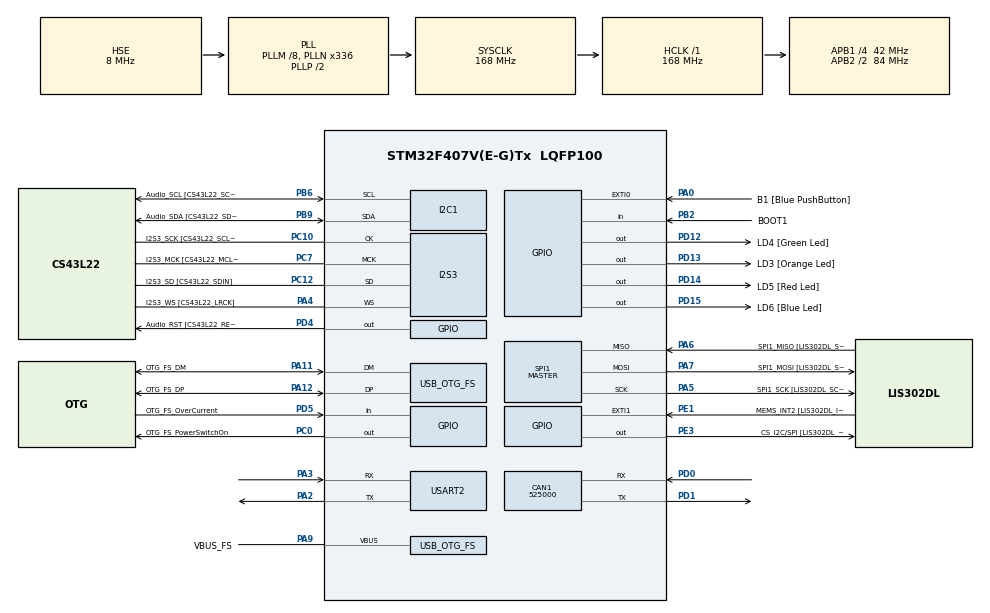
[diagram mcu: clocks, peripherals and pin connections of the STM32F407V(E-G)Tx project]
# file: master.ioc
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CAN1.BS1=CAN_BS1_2TQ
CAN1.BS2=CAN_BS2_2TQ
CAN1.CalculateBaudRate=525000
CAN1.CalculateTimeBit=1904
CAN1.CalculateTimeQuantum=380.95238095238096
CAN1.Mode=CAN_MODE_NORMAL
Dma.Request0=USART2_RX
Dma.Request1=USART2_TX
Dma.USART2_RX.0.Direction=DMA_PERIPH_TO_MEMORY
Dma.USART2_RX.0.FIFOMode=DMA_FIFOMODE_DISABLE
Dma.USART2_RX.0.Instance=DMA1_Stream5
Dma.USART2_RX.0.MemDataAlignment=DMA_MDATAALIGN_BYTE
Dma.USART2_RX.0.MemInc=DMA_MINC_ENABLE
Dma.USART2_RX.0.Mode=DMA_CIRCULAR
Dma.USART2_RX.0.PeriphDataAlignment=DMA_PDATAALIGN_BYTE
Dma.USART2_RX.0.PeriphInc=DMA_PINC_DISABLE
Dma.USART2_RX.0.Priority=DMA_PRIORITY_LOW
Dma.USART2_TX.1.Direction=DMA_MEMORY_TO_PERIPH
Dma.USART2_TX.1.FIFOMode=DMA_FIFOMODE_DISABLE
Dma.USART2_TX.1.Instance=DMA1_Stream6
Dma.USART2_TX.1.MemDataAlignment=DMA_MDATAALIGN_BYTE
Dma.USART2_TX.1.MemInc=DMA_MINC_ENABLE
Dma.USART2_TX.1.Mode=DMA_NORMAL
Dma.USART2_TX.1.PeriphDataAlignment=DMA_PDATAALIGN_BYTE
Dma.USART2_TX.1.PeriphInc=DMA_PINC_DISABLE
Dma.USART2_TX.1.Priority=DMA_PRIORITY_LOW
I2S3.AudioFreq-Half_Duplex_Master=I2S_AUDIOFREQ_96K
I2S3.ErrorAudioFreq=-2.34 %
I2S3.ErrorAudioFreq-Half_Duplex_Master=0.8 %
I2S3.FullDuplexMode=I2S_FULLDUPLEXMODE_DISABLE
I2S3.Instance=SPI$Index
I2S3.RealAudioFreq=93.75 KHz
I2S3.RealAudioFreq-Half_Duplex_Master=96.774 KHz
I2S3.VirtualMode=I2S_MODE_MASTER
Mcu.Family=STM32F4
Mcu.Name=STM32F407V(E-G)Tx
Mcu.Package=LQFP100
NVIC.CAN1_RX0_IRQn=true\:0\:0\:false\:false\:true\:true\:true\:true
NVIC.CAN1_RX1_IRQn=true\:0\:0\:false\:false\:true\:true\:true\:true
NVIC.CAN1_TX_IRQn=true\:0\:0\:false\:false\:true\:true\:true\:true
NVIC.DMA1_Stream5_IRQn=true\:0\:0\:false\:false\:true\:false\:true\:true
NVIC.DMA1_Stream6_IRQn=true\:0\:0\:false\:false\:true\:false\:true\:true
NVIC.OTG_FS_IRQn=true\:0\:0\:false\:false\:true\:true\:true\:true
NVIC.PriorityGroup=NVIC_PRIORITYGROUP_0
NVIC.USART2_IRQn=true\:0\:0\:false\:false\:true\:true\:true\:true
PA0-WKUP.GPIO_Label=B1 [Blue PushButton]
PA0-WKUP.GPIO_ModeDefaultEXTI=GPIO_MODE_EVT_RISING
PA0-WKUP.GPIO_PuPd=GPIO_NOPULL
PA0-WKUP.Signal=GPXTI0
PA10.GPIO_Label=OTG_FS_ID
PA10.GPIO_Mode=GPIO_MODE_AF_PP
PA10.GPIO_PuPd=GPIO_NOPULL
PA10.GPIO_Speed=GPIO_SPEED_FREQ_LOW
PA10.Signal=USB_OTG_FS_ID
PA11.GPIO_Label=OTG_FS_DM
PA11.GPIO_Mode=GPIO_MODE_AF_PP
PA11.GPIO_PuPd=GPIO_NOPULL
PA11.GPIO_Speed=GPIO_SPEED_FREQ_LOW
PA11.Mode=Host_Only
PA11.Signal=USB_OTG_FS_DM
PA12.GPIO_Label=OTG_FS_DP
PA12.GPIO_Mode=GPIO_MODE_AF_PP
PA12.GPIO_PuPd=GPIO_NOPULL
PA12.GPIO_Speed=GPIO_SPEED_FREQ_LOW
PA12.Mode=Host_Only
PA12.Signal=USB_OTG_FS_DP
PA13.GPIO_Label=SWDIO
PA13.Mode=Serial_Wire
PA13.Signal=SYS_JTMS-SWDIO
PA14.GPIO_Label=SWCLK
PA14.Mode=Serial_Wire
PA14.Signal=SYS_JTCK-SWCLK
PA2.Mode=Asynchronous
PA2.Signal=USART2_TX
PA3.Mode=Asynchronous
PA3.Signal=USART2_RX
PA4.GPIO_Label=I2S3_WS [CS43L22_LRCK]
PA4.GPIO_Mode=GPIO_MODE_AF_PP
PA4.GPIO_PuPd=GPIO_NOPULL
PA4.GPIO_Speed=GPIO_SPEED_FREQ_LOW
PA4.Mode=Half_Duplex_Master
PA4.Signal=I2S3_WS
PA5.GPIO_Label=SPI1_SCK [LIS302DL_SCL/SPC]
PA5.GPIO_Mode=GPIO_MODE_AF_PP
PA5.GPIO_PuPd=GPIO_NOPULL
PA5.GPIO_Speed=GPIO_SPEED_FREQ_LOW
PA5.Mode=Full_Duplex_Master
PA5.Signal=SPI1_SCK
PA6.GPIO_Label=SPI1_MISO [LIS302DL_SDO]
PA6.GPIO_Mode=GPIO_MODE_AF_PP
PA6.GPIO_PuPd=GPIO_NOPULL
PA6.GPIO_Speed=GPIO_SPEED_FREQ_LOW
PA6.Mode=Full_Duplex_Master
PA6.Signal=SPI1_MISO
PA7.GPIO_Label=SPI1_MOSI [LIS302DL_SDA/SDI/SDO]
PA7.GPIO_Mode=GPIO_MODE_AF_PP
PA7.GPIO_PuPd=GPIO_NOPULL
PA7.GPIO_Speed=GPIO_SPEED_FREQ_LOW
PA7.Mode=Full_Duplex_Master
PA7.Signal=SPI1_MOSI
PA9.GPIO_Label=VBUS_FS
PA9.GPIO_Mode=GPIO_MODE_INPUT
PA9.GPIO_PuPd=GPIO_NOPULL
PA9.Mode=Activate_VBUS
PA9.Signal=USB_OTG_FS_VBUS
PB10.GPIO_Label=CLK_IN [MP45DT02_CLK]
PB10.GPIO_Mode=GPIO_MODE_AF_PP
PB10.GPIO_PuPd=GPIO_NOPULL
PB10.GPIO_Speed=GPIO_SPEED_FREQ_LOW
PB10.Signal=I2S2_CK
PB2.GPIO_Label=BOOT1
PB2.GPIO_Mode=GPIO_MODE_INPUT
PB2.GPIO_PuPd=GPIO_NOPULL
PB2.Signal=GPIO_Input
PB3.GPIO_Label=SWO
PB3.Signal=SYS_JTDO-SWO
PB6.GPIO_Label=Audio_SCL [CS43L22_SCL]
PB6.GPIO_Mode=GPIO_MODE_AF_OD
PB6.GPIO_Pu=GPIO_PULLUP
PB6.GPIO_PuPd=GPIO_NOPULL
PB6.GPIO_Speed=GPIO_SPEED_FREQ_LOW
PB6.Mode=I2C
PB6.Signal=I2C1_SCL
PB9.GPIO_Label=Audio_SDA [CS43L22_SDA]
PB9.GPIO_Mode=GPIO_MODE_AF_OD
PB9.GPIO_Pu=GPIO_PULLUP
PB9.GPIO_PuPd=GPIO_NOPULL
PB9.GPIO_Speed=GPIO_SPEED_FREQ_LOW
PB9.Mode=I2C
PB9.Signal=I2C1_SDA
PC0.GPIO_Label=OTG_FS_PowerSwitchOn
PC0.GPIO_PuPd=GPIO_NOPULL
PC0.GPIO_Speed=GPIO_SPEED_FREQ_LOW
PC0.PinState=GPIO_PIN_SET
PC0.Signal=GPIO_Output
PC10.GPIO_Label=I2S3_SCK [CS43L22_SCLK]
PC10.GPIO_Mode=GPIO_MODE_AF_PP
PC10.GPIO_PuPd=GPIO_NOPULL
PC10.GPIO_Speed=GPIO_SPEED_FREQ_LOW
PC10.Mode=Half_Duplex_Master
PC10.Signal=I2S3_CK
PC12.GPIO_Label=I2S3_SD [CS43L22_SDIN]
PC12.GPIO_Mode=GPIO_MODE_AF_PP
PC12.GPIO_PuPd=GPIO_NOPULL
PC12.GPIO_Speed=GPIO_SPEED_FREQ_LOW
PC12.Mode=Half_Duplex_Master
PC12.Signal=I2S3_SD
PC14-OSC32_IN.GPIO_Label=PC14-OSC32_IN
PC14-OSC32_IN.Signal=RCC_OSC32_IN
PC15-OSC32_OUT.GPIO_Label=PC15-OSC32_OUT
PC15-OSC32_OUT.Signal=RCC_OSC32_OUT
PC3.GPIO_Label=PDM_OUT [MP45DT02_DOUT]
PC3.GPIO_Mode=GPIO_MODE_AF_PP
PC3.GPIO_PuPd=GPIO_NOPULL
PC3.GPIO_Speed=GPIO_SPEED_FREQ_LOW
PC3.Signal=I2S2_SD
PC7.GPIO_Label=I2S3_MCK [CS43L22_MCLK]
PC7.GPIO_Mode=GPIO_MODE_AF_PP
PC7.GPIO_PuPd=GPIO_NOPULL
PC7.GPIO_Speed=GPIO_SPEED_FREQ_LOW
PC7.Mode=Master_Clock_Activated
PC7.Signal=I2S3_MCK
PD0.Mode=CAN_Activate
PD0.Signal=CAN1_RX
PD1.Mode=CAN_Activate
PD1.Signal=CAN1_TX
PD12.GPIO_Label=LD4 [Green Led]
PD12.GPIO_PuPd=GPIO_NOPULL
PD12.GPIO_Speed=GPIO_SPEED_FREQ_LOW
PD12.Signal=GPIO_Output
PD13.GPIO_Label=LD3 [Orange Led]
PD13.GPIO_PuPd=GPIO_NOPULL
PD13.GPIO_Speed=GPIO_SPEED_FREQ_LOW
PD13.Signal=GPIO_Output
PD14.GPIO_Label=LD5 [Red Led]
PD14.GPIO_PuPd=GPIO_NOPULL
PD14.GPIO_Speed=GPIO_SPEED_FREQ_LOW
PD14.Signal=GPIO_Output
PD15.GPIO_Label=LD6 [Blue Led]
PD15.GPIO_PuPd=GPIO_NOPULL
PD15.GPIO_Speed=GPIO_SPEED_FREQ_LOW
PD15.Signal=GPIO_Output
PD4.GPIO_Label=Audio_RST [CS43L22_RESET]
PD4.GPIO_PuPd=GPIO_NOPULL
PD4.GPIO_Speed=GPIO_SPEED_FREQ_LOW
PD4.Signal=GPIO_Output
PD5.GPIO_Label=OTG_FS_OverCurrent
PD5.GPIO_Mode=GPIO_MODE_INPUT
PD5.GPIO_PuPd=GPIO_NOPULL
PD5.Signal=GPIO_Input
PE1.GPIO_Label=MEMS_INT2 [LIS302DL_INT2]
PE1.GPIO_ModeDefaultEXTI=GPIO_MODE_EVT_RISING
PE1.GPIO_PuPd=GPIO_NOPULL
PE1.Signal=GPXTI1
PE3.GPIO_Label=CS_I2C/SPI [LIS302DL_CS_I2C/SPI]
PE3.GPIO_PuPd=GPIO_NOPULL
PE3.GPIO_Speed=GPIO_SPEED_FREQ_LOW
PE3.Signal=GPIO_Output
PH0-OSC_IN.GPIO_Label=PH0-OSC_IN
PH0-OSC_IN.Mode=HSE-External-Oscillator
PH0-OSC_IN.Signal=RCC_OSC_IN
PH1-OSC_OUT.GPIO_Label=PH1-OSC_OUT
PH1-OSC_OUT.Mode=HSE-External-Oscillator
PH1-OSC_OUT.Signal=RCC_OSC_OUT
ProjectManager.HeapSize=0x200
ProjectManager.StackSize=0x400
ProjectManager.TargetToolchain=STM32CubeIDE
RCC.48MHZClocksFreq_Value=48000000
RCC.AHBFreq_Value=168000000
RCC.APB1CLKDivider=RCC_HCLK_DIV4
RCC.APB1Freq_Value=42000000
RCC.APB1TimFreq_Value=84000000
RCC.APB2CLKDivider=RCC_HCLK_DIV2
RCC.APB2Freq_Value=84000000
RCC.APB2TimFreq_Value=168000000
RCC.CortexFreq_Value=168000000
RCC.HCLKFreq_Value=168000000
RCC.HSE_VALUE=8000000
RCC.HSI_VALUE=16000000
RCC.LSE_VALUE=32768
RCC.PLLM=8
RCC.PLLN=336
RCC.PLLQ=7
RCC.SYSCLKFreq_VALUE=168000000
RCC.SYSCLKSource=RCC_SYSCLKSOURCE_PLLCLK
RCC.VCOOutputFreq_Value=336000000
SPI1.BaudRatePrescaler-Full_Duplex_Master=SPI_BAUDRATEPRESCALER_2
SPI1.CalculateBaudRate-Full_Duplex_Master=42.0 MBits/s
SPI1.Direction=SPI_DIRECTION_2LINES
SPI1.Mode=SPI_MODE_MASTER
SPI1.Mode-Full_Duplex_Master=SPI_MODE_MASTER
SPI1.VirtualType=VM_MASTER
USART2.VirtualMode=VM_ASYNC
USB_HOST.BSP.number=1
USB_HOST.USBH_HandleTypeDef-CDC_FS=hUsbHostFS
USB_HOST.VirtualModeFS=Cdc
USB_HOST0.BSP.STBoard=false
USB_HOST0.BSP.api=Unknown
USB_HOST0.BSP.instance=PC0
USB_HOST0.BSP.ip=GPIO
USB_HOST0.BSP.mode=Output
USB_HOST0.BSP.name=Drive_VBUS_FS
USB_HOST0.BSP.solution=PC0
USB_OTG_FS.VirtualMode=Host_Only
USB_OTG_FS.phy_itface=HCD_PHY_EMBEDDED
VP_USB_HOST_VS_USB_HOST_CDC_FS.Mode=CDC_FS
board=STM32F407G-DISC1

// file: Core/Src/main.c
/* USER CODE BEGIN Header */
/**
  ******************************************************************************
  * @file           : main.c
  * @brief          : Main program body
  ******************************************************************************
  * @attention
  *
  * Copyright (c) 2024 STMicroelectronics.
  * All rights reserved.
  *
  * This software is licensed under terms that can be found in the LICENSE file
  * in the root directory of this software component.
  * If no LICENSE file comes with this software, it is provided AS-IS.
  *
  ******************************************************************************
  */
/* USER CODE END Header */
#include "main.h"
#include "usb_host.h"

/* USER CODE BEGIN Includes */
#include "stdio.h"
#include "string.h"

#define BUFFER_SIZE 12
uint8_t RxBuffUART[BUFFER_SIZE];
uint8_t RxDataUART;
uint8_t TxBuffUART[20] = "_Master_";
uint8_t _rxIndex; //
uint16_t Tx_FLag = 0;

int SLAVE_1 = 0;
int SLAVE_2 = 0;
int16_t fail = 3000;
char str_value[10];
char data_str[20];
uint16_t merged_value = 0;
uint8_t value = 0;

uint8_t byte_high;
uint8_t byte_low;

volatile int tx_complete = 1;   //Flag

/* USER CODE END Includes */

CAN_HandleTypeDef hcan1;

I2C_HandleTypeDef hi2c1;

I2S_HandleTypeDef hi2s3;

SPI_HandleTypeDef hspi1;

UART_HandleTypeDef huart2;
DMA_HandleTypeDef hdma_usart2_rx;
DMA_HandleTypeDef hdma_usart2_tx;

void SystemClock_Config(void);
static void MX_GPIO_Init(void);
static void MX_DMA_Init(void);
static void MX_I2C1_Init(void);
static void MX_I2S3_Init(void);
static void MX_SPI1_Init(void);
static void MX_CAN1_Init(void);
static void MX_USART2_UART_Init(void);
void MX_USB_HOST_Process(void);

/* USER CODE BEGIN 0 */

void HAL_UART_RxCpltCallback(UART_HandleTypeDef *huart)
{
  UNUSED(huart);
	if(huart->Instance == USART2)
	{
	        HAL_UART_Receive_DMA(&huart2, RxBuffUART, BUFFER_SIZE);
	        HAL_UART_Transmit_DMA(&huart2, RxBuffUART, BUFFER_SIZE);
	}
}

void HAL_UART_TxCpltCallback(UART_HandleTypeDef *huart) {
    if (huart->Instance == USART2) {
        tx_complete = 1; // Done Transmit
}
}

CAN_HandleTypeDef     CanHandle;
CAN_TxHeaderTypeDef   TxHeader;
CAN_RxHeaderTypeDef   RxHeader;
uint8_t               TxData[8];
uint8_t               RxData[8];
uint32_t              TxMailbox;

void HAL_CAN_RxFifo0MsgPendingCallback(CAN_HandleTypeDef *hcan)
{
  if (HAL_CAN_GetRxMessage(hcan, CAN_RX_FIFO0, &RxHeader, RxData) != HAL_OK)
  {
    Error_Handler();
  }
  // additional filter
  if (RxHeader.StdId == 0x215) /* SLAVE 1 */
  {
	  SLAVE_1 = 1;
	  SLAVE_2 = 0;
  }

  else if (RxHeader.StdId == 0x211) /* SLAVE 2 */
  {
	  SLAVE_2 = 1;
	  SLAVE_1 = 0;
  }
  fail = 3000; //If not
};
/* USER CODE END 0 */

int main(void)
{

  /* MCU Configuration--------------------------------------------------------*/

  /* Reset of all peripherals, Initializes the Flash interface and the Systick. */
  HAL_Init();

  /* Configure the system clock */
  SystemClock_Config();

  /* Initialize all configured peripherals */
  MX_GPIO_Init();
  MX_DMA_Init();
  MX_I2C1_Init();
  MX_I2S3_Init();
  MX_SPI1_Init();
  MX_USB_HOST_Init();
  MX_CAN1_Init();
  MX_USART2_UART_Init();
  /* USER CODE BEGIN 2 */

  if (HAL_CAN_Start(&hcan1) != HAL_OK)
    {
  	  Error_Handler();
    }

  if (HAL_CAN_ActivateNotification(&hcan1, CAN_IT_RX_FIFO0_MSG_PENDING) != HAL_OK)
    {
  	  Error_Handler();
    }

	/*Configure for */
	HAL_UART_Receive_DMA(&huart2, RxBuffUART, BUFFER_SIZE);
  //	HAL_UART_Transmit_DMA(&huart2, TxBuffUART, sizeof(TxBuffUART));
  /* USER CODE END 2 */

  /* Infinite loop */
  while (1)
  {
    MX_USB_HOST_Process();
    /* USER CODE BEGIN 3 */
    /*Configure for */
 	TxHeader.StdId = 0x407;
 	TxHeader.ExtId = 0x00;
 	TxHeader.RTR = CAN_RTR_DATA;
 	TxHeader.IDE = CAN_ID_STD;
 	TxHeader.DLC = 8;
 	TxHeader.TransmitGlobalTime = DISABLE;

    if (SLAVE_1 || SLAVE_2){

    	      if(SLAVE_1){//TxData for SLAVE_2
    	    	  if(tx_complete){
          	  ///Process data coming from the slave2
    	    		  uint8_t byte_low  = RxData[0];
                      sprintf(str_value, "%04X", byte_low);
    	    		  sprintf(data_str, "@8A%s000#", str_value);

//DMA transmission
       		  tx_complete = 0;
          	  HAL_UART_Transmit_DMA(&huart2, (uint8_t *)data_str, sizeof(data_str));
          	  HAL_Delay(100);
    	    	  	  }
    	    	  else{
    	      HAL_UART_Transmit_DMA(&huart2, (uint8_t *)data_str, sizeof(data_str));
    	      HAL_Delay(100);
    	    	  	  }
    	    	  }
      		  if(SLAVE_2){
           		  if(tx_complete){
      		  ///Process data coming from the slave2
      			uint8_t byte_high = RxData[1];
      			uint8_t byte_low  = RxData[0];
      		  // Type and bitwise shift to concatenate two values together
      		  merged_value = (uint16_t)(byte_high << 8) | byte_low;
      		  sprintf(str_value, "%04X", merged_value);
      		  sprintf(data_str, "@8B%s000#", str_value);
      		  //DMA transmission
       		  tx_complete = 0;
          	  HAL_UART_Transmit_DMA(&huart2, (uint8_t *)data_str, sizeof(data_str));
        	  HAL_Delay(100);
           		  	  }else{
           	  HAL_UART_Transmit_DMA(&huart2, (uint8_t *)data_str, sizeof(data_str));
        	  HAL_Delay(100);
           		  	  }
      		  }
    }
          TxData[0] = 65;
          TxData[1] = RxBuffUART[1];
          TxData[2] = RxBuffUART[2];
          TxData[3] = RxBuffUART[3];
          TxData[4] = RxBuffUART[4];
          TxData[5] = RxBuffUART[5];
          TxData[6] = RxBuffUART[6];
          TxData[7] = RxBuffUART[7];

          if (HAL_CAN_AddTxMessage(&hcan1, &TxHeader, TxData, &TxMailbox) != HAL_OK)
          			  {
          				  Error_Handler ();
          			  }
          	  HAL_Delay(40);

  }
  /* USER CODE END 3 */
}

void SystemClock_Config(void)
{
  RCC_OscInitTypeDef RCC_OscInitStruct = {0};
  RCC_ClkInitTypeDef RCC_ClkInitStruct = {0};

  /** Configure the main internal regulator output voltage
  */
  __HAL_RCC_PWR_CLK_ENABLE();
  __HAL_PWR_VOLTAGESCALING_CONFIG(PWR_REGULATOR_VOLTAGE_SCALE1);

  /** Initializes the RCC Oscillators according to the specified parameters
  * in the RCC_OscInitTypeDef structure.
  */
  RCC_OscInitStruct.OscillatorType = RCC_OSCILLATORTYPE_HSE;
  RCC_OscInitStruct.HSEState = RCC_HSE_ON;
  RCC_OscInitStruct.PLL.PLLState = RCC_PLL_ON;
  RCC_OscInitStruct.PLL.PLLSource = RCC_PLLSOURCE_HSE;
  RCC_OscInitStruct.PLL.PLLM = 8;
  RCC_OscInitStruct.PLL.PLLN = 336;
  RCC_OscInitStruct.PLL.PLLP = RCC_PLLP_DIV2;
  RCC_OscInitStruct.PLL.PLLQ = 7;
  if (HAL_RCC_OscConfig(&RCC_OscInitStruct) != HAL_OK)
  {
    Error_Handler();
  }

  /** Initializes the CPU, AHB and APB buses clocks
  */
  RCC_ClkInitStruct.ClockType = RCC_CLOCKTYPE_HCLK|RCC_CLOCKTYPE_SYSCLK
                              |RCC_CLOCKTYPE_PCLK1|RCC_CLOCKTYPE_PCLK2;
  RCC_ClkInitStruct.SYSCLKSource = RCC_SYSCLKSOURCE_PLLCLK;
  RCC_ClkInitStruct.AHBCLKDivider = RCC_SYSCLK_DIV1;
  RCC_ClkInitStruct.APB1CLKDivider = RCC_HCLK_DIV4;
  RCC_ClkInitStruct.APB2CLKDivider = RCC_HCLK_DIV2;

  if (HAL_RCC_ClockConfig(&RCC_ClkInitStruct, FLASH_LATENCY_5) != HAL_OK)
  {
    Error_Handler();
  }
}

static void MX_CAN1_Init(void)
{

  hcan1.Instance = CAN1;
  hcan1.Init.Prescaler = 16;
  hcan1.Init.Mode = CAN_MODE_NORMAL;
  hcan1.Init.SyncJumpWidth = CAN_SJW_1TQ;
  hcan1.Init.TimeSeg1 = CAN_BS1_2TQ;
  hcan1.Init.TimeSeg2 = CAN_BS2_2TQ;
hcan1.Init.TimeTriggeredMode = DISABLE;
  hcan1.Init.AutoBusOff = DISABLE;
  hcan1.Init.AutoWakeUp = DISABLE;
  hcan1.Init.AutoRetransmission = DISABLE;
  hcan1.Init.ReceiveFifoLocked = DISABLE;
  hcan1.Init.TransmitFifoPriority = DISABLE;
  if (HAL_CAN_Init(&hcan1) != HAL_OK)
  {
    Error_Handler();
  }
  /* USER CODE BEGIN CAN1_Init 2 */
  CAN_FilterTypeDef canfilterconfig_slave1;
    canfilterconfig_slave1.FilterActivation = CAN_FILTER_ENABLE;
    canfilterconfig_slave1.FilterBank = 18;  // which filter bank to use from the assigned ones
    canfilterconfig_slave1.FilterFIFOAssignment = CAN_FILTER_FIFO0;
    canfilterconfig_slave1.FilterIdHigh = 0x201<<5; //Change for SLAVE
    canfilterconfig_slave1.FilterIdLow = 0;
    canfilterconfig_slave1.FilterMaskIdHigh = 0x201<<5; //Change for SLAVE
    canfilterconfig_slave1.FilterMaskIdLow = 0x0000;
    canfilterconfig_slave1.FilterMode = CAN_FILTERMODE_IDMASK;
    canfilterconfig_slave1.FilterScale = CAN_FILTERSCALE_32BIT;
    canfilterconfig_slave1.SlaveStartFilterBank = 40;  // how many filters to assign to the CAN1 (master can)
    HAL_CAN_ConfigFilter(&hcan1, &canfilterconfig_slave1);

  /* USER CODE END CAN1_Init 2 */

}

static void MX_I2C1_Init(void)
{

  hi2c1.Instance = I2C1;
  hi2c1.Init.ClockSpeed = 100000;
  hi2c1.Init.DutyCycle = I2C_DUTYCYCLE_2;
  hi2c1.Init.OwnAddress1 = 0;
  hi2c1.Init.AddressingMode = I2C_ADDRESSINGMODE_7BIT;
  hi2c1.Init.DualAddressMode = I2C_DUALADDRESS_DISABLE;
  hi2c1.Init.OwnAddress2 = 0;
  hi2c1.Init.GeneralCallMode = I2C_GENERALCALL_DISABLE;
  hi2c1.Init.NoStretchMode = I2C_NOSTRETCH_DISABLE;
  if (HAL_I2C_Init(&hi2c1) != HAL_OK)
  {
    Error_Handler();
  }

}

static void MX_I2S3_Init(void)
{

  hi2s3.Instance = SPI3;
  hi2s3.Init.Mode = I2S_MODE_MASTER_TX;
  hi2s3.Init.Standard = I2S_STANDARD_PHILIPS;
  hi2s3.Init.DataFormat = I2S_DATAFORMAT_16B;
  hi2s3.Init.MCLKOutput = I2S_MCLKOUTPUT_ENABLE;
  hi2s3.Init.AudioFreq = I2S_AUDIOFREQ_96K;
  hi2s3.Init.CPOL = I2S_CPOL_LOW;
  hi2s3.Init.ClockSource = I2S_CLOCK_PLL;
  hi2s3.Init.FullDuplexMode = I2S_FULLDUPLEXMODE_DISABLE;
  if (HAL_I2S_Init(&hi2s3) != HAL_OK)
  {
    Error_Handler();
  }

}

static void MX_SPI1_Init(void)
{

/* SPI1 parameter configuration*/
  hspi1.Instance = SPI1;
  hspi1.Init.Mode = SPI_MODE_MASTER;
  hspi1.Init.Direction = SPI_DIRECTION_2LINES;
  hspi1.Init.DataSize = SPI_DATASIZE_8BIT;
  hspi1.Init.CLKPolarity = SPI_POLARITY_LOW;
  hspi1.Init.CLKPhase = SPI_PHASE_1EDGE;
  hspi1.Init.NSS = SPI_NSS_SOFT;
  hspi1.Init.BaudRatePrescaler = SPI_BAUDRATEPRESCALER_2;
  hspi1.Init.FirstBit = SPI_FIRSTBIT_MSB;
  hspi1.Init.TIMode = SPI_TIMODE_DISABLE;
  hspi1.Init.CRCCalculation = SPI_CRCCALCULATION_DISABLE;
  hspi1.Init.CRCPolynomial = 10;
  if (HAL_SPI_Init(&hspi1) != HAL_OK)
  {
    Error_Handler();
  }

}

static void MX_USART2_UART_Init(void)
{

  huart2.Instance = USART2;
  huart2.Init.BaudRate = 115200;
  huart2.Init.WordLength = UART_WORDLENGTH_8B;
  huart2.Init.StopBits = UART_STOPBITS_1;
  huart2.Init.Parity = UART_PARITY_NONE;
  huart2.Init.Mode = UART_MODE_TX_RX;
  huart2.Init.HwFlowCtl = UART_HWCONTROL_NONE;
  huart2.Init.OverSampling = UART_OVERSAMPLING_16;
  if (HAL_UART_Init(&huart2) != HAL_OK)
  {
    Error_Handler();
  }

}

static void MX_DMA_Init(void)
{

  /* DMA controller clock enable */
  __HAL_RCC_DMA1_CLK_ENABLE();

  /* DMA interrupt init */
  /* DMA1_Stream5_IRQn interrupt configuration */
  HAL_NVIC_SetPriority(DMA1_Stream5_IRQn, 0, 0);
  HAL_NVIC_EnableIRQ(DMA1_Stream5_IRQn);
  /* DMA1_Stream6_IRQn interrupt configuration */
  HAL_NVIC_SetPriority(DMA1_Stream6_IRQn, 0, 0);
  HAL_NVIC_EnableIRQ(DMA1_Stream6_IRQn);

}

static void MX_GPIO_Init(void)
{
  GPIO_InitTypeDef GPIO_InitStruct = {0};

  /* GPIO Ports Clock Enable */
  __HAL_RCC_GPIOE_CLK_ENABLE();
  __HAL_RCC_GPIOC_CLK_ENABLE();
  __HAL_RCC_GPIOH_CLK_ENABLE();
  __HAL_RCC_GPIOA_CLK_ENABLE();
  __HAL_RCC_GPIOB_CLK_ENABLE();
  __HAL_RCC_GPIOD_CLK_ENABLE();

  /*Configure GPIO pin Output Level */
  HAL_GPIO_WritePin(CS_I2C_SPI_GPIO_Port, CS_I2C_SPI_Pin, GPIO_PIN_RESET);

  /*Configure GPIO pin Output Level */
  HAL_GPIO_WritePin(OTG_FS_PowerSwitchOn_GPIO_Port, OTG_FS_PowerSwitchOn_Pin, GPIO_PIN_SET);

  /*Configure GPIO pin Output Level */
  HAL_GPIO_WritePin(GPIOD, LD4_Pin|LD3_Pin|LD5_Pin|LD6_Pin
                          |Audio_RST_Pin, GPIO_PIN_RESET);

  /*Configure GPIO pin : CS_I2C_SPI_Pin */
  GPIO_InitStruct.Pin = CS_I2C_SPI_Pin;
  GPIO_InitStruct.Mode = GPIO_MODE_OUTPUT_PP;
  GPIO_InitStruct.Pull = GPIO_NOPULL;
  GPIO_InitStruct.Speed = GPIO_SPEED_FREQ_LOW;
HAL_GPIO_Init(CS_I2C_SPI_GPIO_Port, &GPIO_InitStruct);

  /*Configure GPIO pin : OTG_FS_PowerSwitchOn_Pin */
  GPIO_InitStruct.Pin = OTG_FS_PowerSwitchOn_Pin;
  GPIO_InitStruct.Mode = GPIO_MODE_OUTPUT_PP;
  GPIO_InitStruct.Pull = GPIO_NOPULL;
  GPIO_InitStruct.Speed = GPIO_SPEED_FREQ_LOW;
  HAL_GPIO_Init(OTG_FS_PowerSwitchOn_GPIO_Port, &GPIO_InitStruct);

  /*Configure GPIO pin : PDM_OUT_Pin */
  GPIO_InitStruct.Pin = PDM_OUT_Pin;
  GPIO_InitStruct.Mode = GPIO_MODE_AF_PP;
  GPIO_InitStruct.Pull = GPIO_NOPULL;
  GPIO_InitStruct.Speed = GPIO_SPEED_FREQ_LOW;
  GPIO_InitStruct.Alternate = GPIO_AF5_SPI2;
  HAL_GPIO_Init(PDM_OUT_GPIO_Port, &GPIO_InitStruct);

  /*Configure GPIO pin : B1_Pin */
  GPIO_InitStruct.Pin = B1_Pin;
  GPIO_InitStruct.Mode = GPIO_MODE_EVT_RISING;
  GPIO_InitStruct.Pull = GPIO_NOPULL;
  HAL_GPIO_Init(B1_GPIO_Port, &GPIO_InitStruct);

  /*Configure GPIO pin : BOOT1_Pin */
  GPIO_InitStruct.Pin = BOOT1_Pin;
  GPIO_InitStruct.Mode = GPIO_MODE_INPUT;
  GPIO_InitStruct.Pull = GPIO_NOPULL;
  HAL_GPIO_Init(BOOT1_GPIO_Port, &GPIO_InitStruct);

  /*Configure GPIO pin : CLK_IN_Pin */
  GPIO_InitStruct.Pin = CLK_IN_Pin;
  GPIO_InitStruct.Mode = GPIO_MODE_AF_PP;
  GPIO_InitStruct.Pull = GPIO_NOPULL;
  GPIO_InitStruct.Speed = GPIO_SPEED_FREQ_LOW;
  GPIO_InitStruct.Alternate = GPIO_AF5_SPI2;
  HAL_GPIO_Init(CLK_IN_GPIO_Port, &GPIO_InitStruct);

  /*Configure GPIO pins : LD4_Pin LD3_Pin LD5_Pin LD6_Pin
                           Audio_RST_Pin */
  GPIO_InitStruct.Pin = LD4_Pin|LD3_Pin|LD5_Pin|LD6_Pin
                          |Audio_RST_Pin;
  GPIO_InitStruct.Mode = GPIO_MODE_OUTPUT_PP;
  GPIO_InitStruct.Pull = GPIO_NOPULL;
  GPIO_InitStruct.Speed = GPIO_SPEED_FREQ_LOW;
  HAL_GPIO_Init(GPIOD, &GPIO_InitStruct);

  /*Configure GPIO pin : OTG_FS_OverCurrent_Pin */
  GPIO_InitStruct.Pin = OTG_FS_OverCurrent_Pin;
  GPIO_InitStruct.Mode = GPIO_MODE_INPUT;
  GPIO_InitStruct.Pull = GPIO_NOPULL;
  HAL_GPIO_Init(OTG_FS_OverCurrent_GPIO_Port, &GPIO_InitStruct);

  /*Configure GPIO pin : MEMS_INT2_Pin */
  GPIO_InitStruct.Pin = MEMS_INT2_Pin;
  GPIO_InitStruct.Mode = GPIO_MODE_EVT_RISING;
  GPIO_InitStruct.Pull = GPIO_NOPULL;
  HAL_GPIO_Init(MEMS_INT2_GPIO_Port, &GPIO_InitStruct);

}

void Error_Handler(void)
{
  __disable_irq();
  while (1)
  {
  }
}
